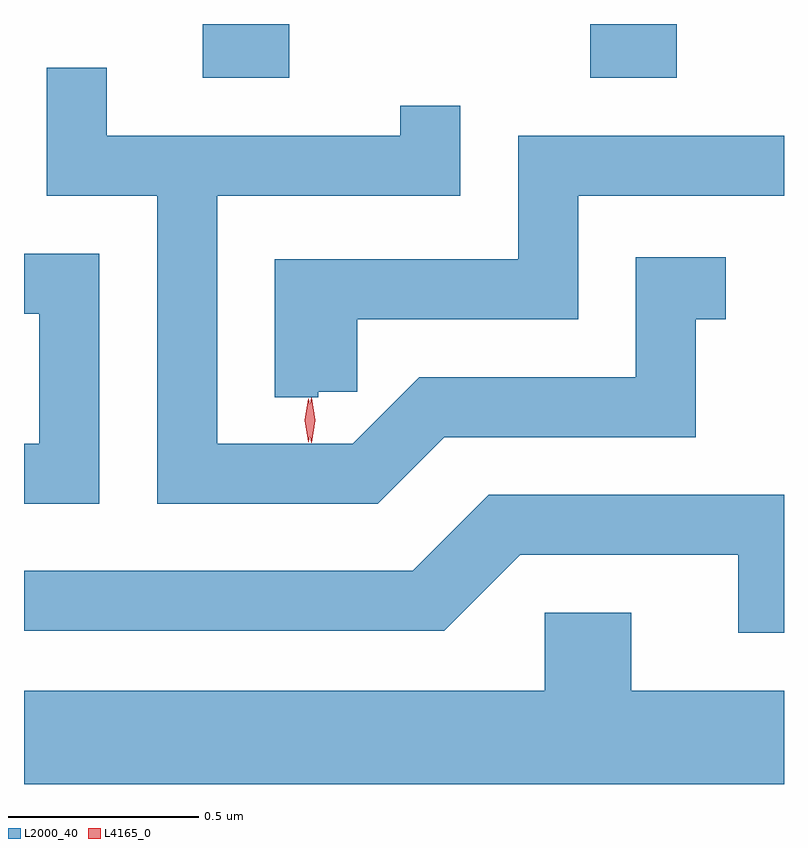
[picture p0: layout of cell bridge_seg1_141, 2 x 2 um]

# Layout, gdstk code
import gdstk
lib = gdstk.Library(unit=1e-6, precision=1e-09)
def R(c, l, rs):  # rectangles x0, y0, x1, y1
    for r in rs: c.add(gdstk.rectangle(r[:2], r[2:], *l))
def P(c, l, *ps):  # polygons
    for p in ps: c.add(gdstk.Polygon(p, *l))
L2000_40 = (2000, 40)
L4165_0 = (4165, 0)

bridge_seg1_141 = lib.new_cell('bridge_seg1_141')
R(bridge_seg1_141, L2000_40, [(1392.351,870.376,1392.579,870.518), (1393.371,870.376,1393.599,870.518)])
P(bridge_seg1_141, L2000_40, [(1392.987,869.431),(1393.649,869.431),(1393.649,869.741),(1393.728,869.741),(1393.728,869.904),(1393.491,869.904),(1393.491,869.589),(1392.921,869.589),(1392.746,869.414),(1392.389,869.414),(1392.389,870.066),(1393.029,870.066),(1393.029,870.303),(1392.871,870.303),(1392.871,870.224),(1392.099,870.224),(1392.099,870.403),(1391.941,870.403),(1391.941,870.066),(1392.231,870.066),(1392.231,869.256),(1392.812,869.256)],
  [(1392.655,869.55),(1392.758,869.55),(1392.758,869.741),(1393.339,869.741),(1393.339,870.066),(1393.881,870.066),(1393.881,870.224),(1393.181,870.224),(1393.181,869.899),(1392.541,869.899),(1392.541,869.536),(1392.655,869.536)],
  [(1392.079,869.914),(1391.881,869.914),(1391.881,869.756),(1391.921,869.756),(1391.921,869.414),(1391.881,869.414),(1391.881,869.256),(1392.079,869.256)],
  [(1393.881,869.279),(1393.104,869.279),(1392.904,869.079),(1391.881,869.079),(1391.881,868.921),(1392.987,868.921),(1393.187,869.121),(1393.761,869.121),(1393.761,868.916),(1393.881,868.916)],
  [(1393.881,868.764),(1393.479,868.764),(1393.479,868.969),(1393.251,868.969),(1393.251,868.764),(1391.881,868.764),(1391.881,868.518),(1393.881,868.518)])
P(bridge_seg1_141, L4165_0, [(1392.637,869.416),(1392.628,869.475),(1392.637,869.534),(1392.638,869.535),(1392.638,869.534),(1392.648,869.475),(1392.638,869.416),(1392.638,869.416)],
  [(1392.63,869.418),(1392.629,869.419),(1392.62,869.475),(1392.629,869.532),(1392.63,869.532),(1392.63,869.532),(1392.64,869.475),(1392.63,869.419)])

lib.write_gds('bridge_seg1_141.gds')
